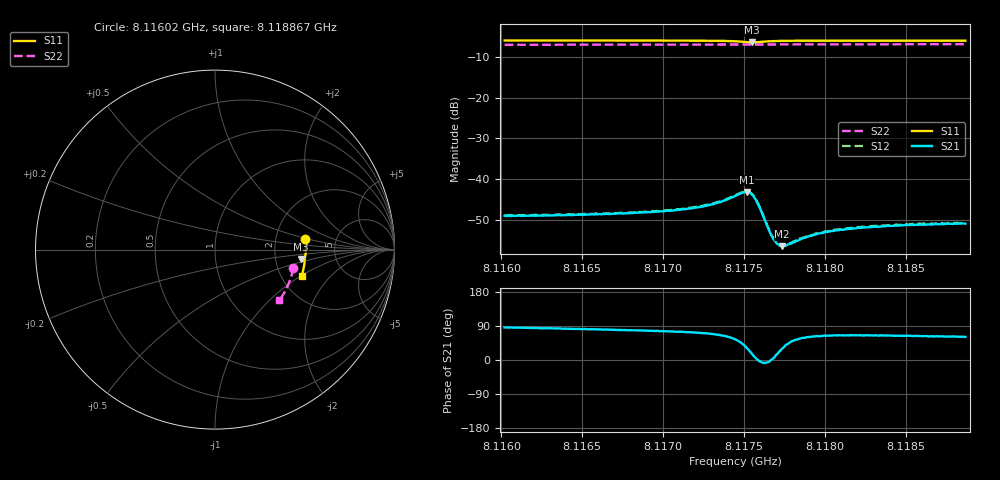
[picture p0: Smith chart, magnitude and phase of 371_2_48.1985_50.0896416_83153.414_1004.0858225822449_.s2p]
#  HZ  S  RI  R  50.00
! Rohde & Schwarz Vector Network Analyzer
! Rohde-Schwarz,ZNB20-2Port,1311601062101988,3.16
! Created: UTC 3/20/2024, 11:52:42 AM
! freq[Hz]  re:S11  im:S11  re:S21  im:S21  re:S12  im:S12  re:S22  im:S22
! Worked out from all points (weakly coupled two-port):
!   401 points, 8.11602 GHz to 8.118867 GHz, reference 50 ohm
!   highest |S21| = -43.23 dB at 8.117515 GHz (marker M1); lowest = -56.6 dB at 8.117735 GHz (marker M2)
!   lowest |S11| = -6.4 dB at 8.11755 GHz (marker M3), VSWR 2.85, Z = 140 - j18.9 ohm
!   |S11| at or under -10 dB: nowhere
!   |S22| runs from -7.0 to -6.8 dB; largest |S21 - S12| = 0.00017
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8.1160198e9  0.504 0.0568  0.00026 0.00352  0.00032 0.00353  0.437 -0.1025
8.1164968e9  0.5062 0.0209  0.000535 0.00358  0.000628 0.00363  0.4294 -0.1347
8.1169738e9  0.5055 -0.016  0.000949 0.00387  0.00099 0.00389  0.4192 -0.1664
8.1171161e9  0.5045 -0.0275  0.00113 0.00405  0.00119 0.00411  0.4158 -0.1759
8.1172585e9  0.5025 -0.0396  0.00153 0.00439  0.00165 0.00449  0.4123 -0.1851
8.1173653e9  0.4992 -0.05  0.00226 0.00479  0.00233 0.00486  0.4093 -0.1921
8.1174436e9  0.4928 -0.0576  0.00355 0.00505  0.00363 0.00511  0.4068 -0.1972
8.1174863e9  0.4864 -0.06  0.00485 0.00466  0.00497 0.00467  0.4053 -0.1997
8.1175148e9  0.4811 -0.0584  0.0058 0.00373  0.00597 0.00373  0.4044 -0.2014
8.1175504e9  0.478 -0.052  0.00614 0.00166  0.00629 0.0016  0.4034 -0.2033
8.1175717e9  0.4798 -0.0477  0.00554 0.000496  0.00565 0.000414  0.4029 -0.2044
8.117586e9  0.4821 -0.0458  0.0049 -5.24e-05  0.00501 -8.17e-05  0.4026 -0.205
8.11765e9  0.493 -0.048  0.00242 -0.00023  0.00247 -0.000231  0.4012 -0.209
8.1176785e9  0.4956 -0.0513  0.00184 0.000131  0.0019 0.000112  0.4006 -0.211
8.117707e9  0.4972 -0.0546  0.0015 0.000463  0.00153 0.000452  0.3998 -0.213
8.1177355e9  0.498 -0.058  0.00128 0.000754  0.00139 0.000725  0.399 -0.2148
8.1177782e9  0.4989 -0.0625  0.00112 0.00112  0.00118 0.00111  0.3977 -0.2177
8.1178494e9  0.4989 -0.0696  0.00098 0.00151  0.000994 0.00155  0.3955 -0.2221
8.1179205e9  0.4985 -0.076  0.000949 0.00178  0.000942 0.0018  0.3932 -0.2266
8.11807e9  0.4969 -0.0883  0.000995 0.00211  0.00103 0.00215  0.3883 -0.236
8.1183975e9  0.4919 -0.1134  0.00113 0.00239  0.0012 0.00243  0.3765 -0.2556
8.1188673e9  0.4823 -0.1477  0.00136 0.00246  0.00141 0.00252  0.3582 -0.2832
